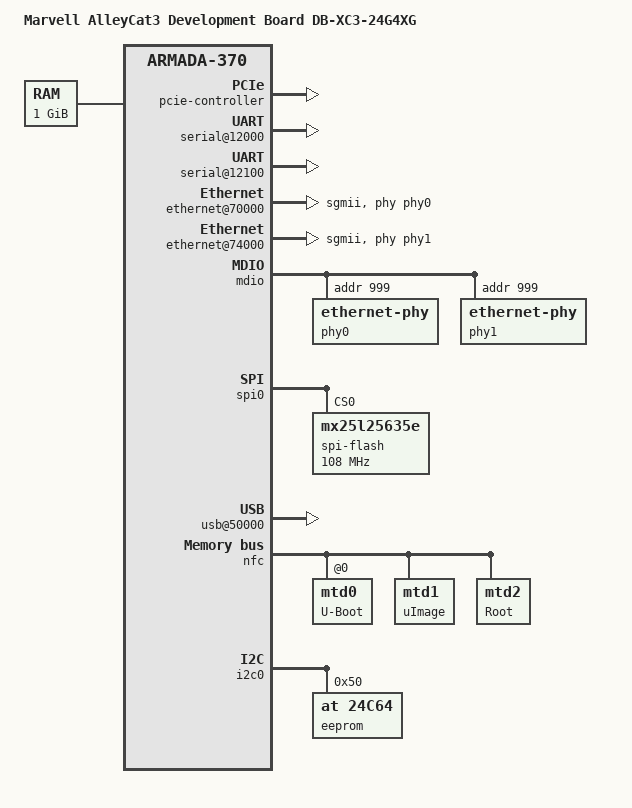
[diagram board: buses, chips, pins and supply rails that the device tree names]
/*
 * Device Tree file for Marvell AlleyCat3 development board
 * (DB-XC3-24G4XG)
 *
 * Copyright (C) 2015 Marvell
 *
 * This file is licensed under the terms of the GNU General Public
 * License version 2.  This program is licensed "as is" without any
 * warranty of any kind, whether express or implied.
 */

/dts-v1/;
#include <dt-bindings/gpio/gpio.h>
#include "msys-ac3.dtsi"

/ {
	model = "Marvell AlleyCat3 Development Board DB-XC3-24G4XG";
	compatible = "marvell,msys", "marvell,msys-ac3",
		     "marvell,msys-ac3-db", "marvell,armada-370-xp";


	chosen {
		bootargs = "console=ttyS0,115200 earlyprintk";
	};

	memory {
		/*
                 * 1GB of plug-in RAM modules by default. The amount
                 * of memory available can be changed by the
                 * bootloader according the size of the module
                 * actually plugged.
		 */
		device_type = "memory";
		reg = <0x00000000 0x00000000 0x00000000 0x40000000>;
	};

	soc {
		ranges = <MBUS_ID(0xf0, 0x01) 0 0 0xf1000000 0x100000
			  MBUS_ID(0x01, 0x1d) 0 0 0xfff00000 0x100000
			  MBUS_ID(0x01, 0x2f) 0 0 0xf0000000 0x1000000
			  MBUS_ID(0x03, 0x00) 0 0 0xf8000000 0x4000000	/* switch */
			  MBUS_ID(0x08, 0x00) 0 0 0xfc000000 0x100000	/* dfx */
			  MBUS_ID(0x0a, 0x00) 0 0 0x80000000 0x8000000>; /* dragonite*/

		devbus-bootcs {

			/* Read parameters */
			devbus,bus-width    = <16>;
			devbus,turn-off-ps  = <60000>;
			devbus,badr-skew-ps = <0>;
			devbus,acc-first-ps = <124000>;
			devbus,acc-next-ps  = <248000>;
			devbus,rd-setup-ps  = <0>;
			devbus,rd-hold-ps   = <0>;

			/* Write parameters */
			devbus,sync-enable = <0>;
			devbus,wr-high-ps  = <60000>;
			devbus,wr-low-ps   = <60000>;
			devbus,ale-wr-ps   = <60000>;

			/* NOR 16 MiB */
			nor@0 {
				compatible = "cfi-flash";
				reg = <0 0x1000000>;
				bank-width = <2>;
			};
		};

		pcie-controller {
			status = "okay";

			pcie@1,0 {
				pinctrl-names = "default";
				pinctrl-0 = <&pex_pin>;
				status = "okay";
			};
		};

		internal-regs {
			serial@12000 {
				status = "okay";
			};

			serial@12100 {
				pinctrl-names = "default";
				pinctrl-0 = <&uart1_pins>;
				status = "okay";
			};

			ethernet@70000 {
				status = "okay";
				phy = <&phy0>;
				phy-mode = "sgmii";
			};

			ethernet@74000 {
				status = "okay";
				phy = <&phy1>;
				phy-mode = "sgmii";
			};

			mdio {
				phy0: ethernet-phy@0 {
					reg = <999>;
				};

				phy1: ethernet-phy@1 {
					reg = <999>;
				};
			};

			spi0: spi@10600 {
				pinctrl-names = "default";
				pinctrl-0 = <&spi_pins>;
				status = "okay";

				spi-flash@0 {
					#address-cells = <1>;
					#size-cells = <1>;
					compatible = "mx25l25635e";
					reg = <0>; /* Chip select 0 */
					spi-max-frequency = <108000000>;
				};
			};

			usb@50000 {
				status = "okay";
			};

			nfc: nand-flash@d0000 {
				pinctrl-names = "default";
				pinctrl-0 = <&nand_pins>;
				#address-cells = <1>;
				#size-cells = <1>;
				status = "okay";

				nfc,nfc-mode  = "normal";       /* normal or ganged */
				nfc,nfc-dma   = <0>;            /* 0 for no, 1 for dma */
				nfc,nfc-width = <8>;
				nfc,ecc-type  = <1>;            /* 4 bit */
				nfc,num-cs    = <1>;

				mtd0@00000000 {
					label = "U-Boot";
					reg = <0x00000000 0x00800000>;
					read-only;
				};

				mtd1@00080000 {
					label = "uImage";
					reg = <0x00800000 0x00800000>;
					read-only;
				};

				mtd2@00140000 {
					label = "Root";
					reg = <0x01000000 0x3f000000>;
				};
			};

			i2c0: i2c@11000 {
				pinctrl-names = "default";
				pinctrl-0 = <&i2c0_pins>;
				eeprom@50 {
					compatible = "at,24c64";
					pagesize = <32>;
					reg = <0x50>;
					marvell,board_id_reg = <0x7>;
				};
			};
		};

		prestera {
			pinctrl-names = "default", "default";
			pinctrl-0 = <&pp_pin>;
			pinctrl-1 = <&slvsmi_pins>;
			status = "okay";
			/*  the CPSS board ID can be enforced
			cpss_force_board_id = <0x30>; */
		};

		addr-compl {
			compatible = "marvell,msys-addr-compl";
			reg = <MBUS_ID(0x03, 0x00) 0 0x200>; /* Switch MG register base */
		};
	};
};
